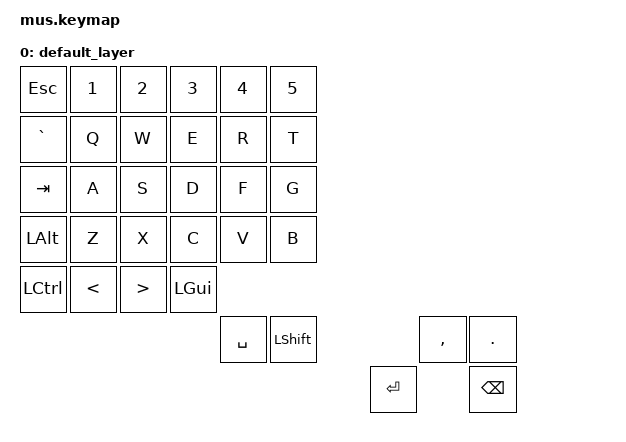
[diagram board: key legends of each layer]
/*
 * Copyright (c) 2020 The ZMK Contributors
 *
 * SPDX-License-Identifier: MIT
 */

#include <behaviors.dtsi>
#include <dt-bindings/zmk/keys.h>

/ {
	keymap {
		compatible = "zmk,keymap";

		default_layer {
// ------------------------------
// | ESC  |  1  |  2  |  3  |  4  |  5  |
// | ` ~  |  Q  |  W  |  E  |  R  |  T  |
// | TAB  |  A  |  S  |  D  |  F  |  G  |
// | ALT  |  Z  |  X  |  C  |  V  |  B  |
// | CTRL |  <  |  >  | GUI |
//                          | SPACE | SHIFT |  ,  |   .  |
//                                          | RET | BSPC |
			bindings = <
	&kp ESC   &kp N1 &kp N2 &kp N3 &kp N4 &kp N5
	&kp GRAVE &kp Q  &kp W  &kp E  &kp R  &kp T
	&kp TAB   &kp A  &kp S  &kp D  &kp F  &kp G
    &kp LALT  &kp Z  &kp X  &kp C  &kp V  &kp B
	&kp LCTRL &kp LT &kp GT &kp LGUI
	                               &kp SPACE  &kp LSHFT &kp COMMA  &kp DOT
	                                                    &kp RET    &kp BSPC
			>;
		};
	};
};
